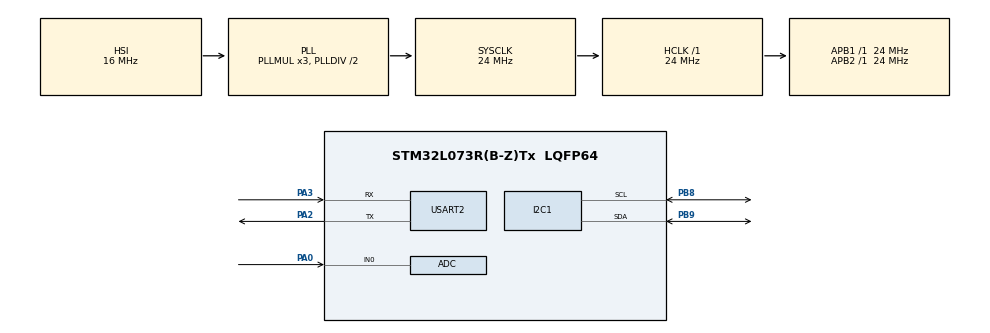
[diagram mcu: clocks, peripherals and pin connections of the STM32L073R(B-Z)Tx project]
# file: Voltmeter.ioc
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ADC.EnableAnalogWatchDog=false
I2C1.Timing=0x00805C87
Mcu.Family=STM32L0
Mcu.Name=STM32L073R(B-Z)Tx
Mcu.Package=LQFP64
PA0.Mode=IN0
PA0.Signal=ADC_IN0
PA2.Mode=Asynchronous
PA2.Signal=USART2_TX
PA3.Mode=Asynchronous
PA3.Signal=USART2_RX
PB8.Mode=I2C
PB8.Signal=I2C1_SCL
PB9.Mode=I2C
PB9.Signal=I2C1_SDA
ProjectManager.HeapSize=0x200
ProjectManager.StackSize=0x400
ProjectManager.TargetToolchain=STM32CubeIDE
RCC.ADCFreq_Value=16000000
RCC.AHBFreq_Value=24000000
RCC.APB1Freq_Value=24000000
RCC.APB1TimFreq_Value=24000000
RCC.APB2Freq_Value=24000000
RCC.APB2TimFreq_Value=24000000
RCC.HCLKFreq_Value=24000000
RCC.HSE_VALUE=8000000
RCC.HSI16_VALUE=16000000
RCC.HSI48_VALUE=48000000
RCC.HSI_VALUE=16000000
RCC.LSE_VALUE=32768
RCC.MSI_VALUE=2097000
RCC.SYSCLKFreq_VALUE=24000000
RCC.SYSCLKSource=RCC_SYSCLKSOURCE_PLLCLK
RCC.VCOOutputFreq_Value=48000000
USART2.VirtualMode-Asynchronous=VM_ASYNC
board=custom

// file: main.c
/* USER CODE BEGIN Header */
/**
  ******************************************************************************
  * @file           : main.c
  * @brief          : Main program body
  ******************************************************************************
  * @attention
  *
  * Copyright (c) 2025 STMicroelectronics.
  * All rights reserved.
  *
  * This software is licensed under terms that can be found in the LICENSE file
  * in the root directory of this software component.
  * If no LICENSE file comes with this software, it is provided AS-IS.
  *
  ******************************************************************************
  */
/* USER CODE END Header */
#include "main.h"

/* USER CODE BEGIN Includes */
#include "i2c_lcd.h"
#include <stdio.h>
#include <string.h>
/* USER CODE END Includes */

ADC_HandleTypeDef hadc;

I2C_HandleTypeDef hi2c1;

UART_HandleTypeDef huart2;

/* USER CODE BEGIN PV */
I2C_LCD_HandleTypeDef lcd1;
#define MAX_SAMPLES 10
uint16_t readValue;
float voltamp;
float ref_voltage_range =3.3;
int ADC_range = 4095;
float real_volt;
volatile float voltageArray[MAX_SAMPLES];
volatile int numSamples = 0;
float voltage;
float voltrms;
char buffer[15];
char buffer2[15];
/* USER CODE END PV */

void SystemClock_Config(void);
static void MX_GPIO_Init(void);
static void MX_ADC_Init(void);
static void MX_I2C1_Init(void);
static void MX_USART2_UART_Init(void);
/* USER CODE BEGIN PFP */
float findMaxVoltage(void)
{
    float maxVoltage = voltageArray[0];
    for (int i = 1; i < numSamples; i++)
    {
        if (voltageArray[i] > maxVoltage)
        {
            maxVoltage = voltageArray[i];
        }
    }
    return maxVoltage;
}
void ValueToTerminal(){
	//naudojant PuTTY jam reikia speed is uart kas yra 115200 ir
	//STM32 porto kas siuo atveju yra port 5
	sprintf(buffer, "Umax= %.2fV \r\n", voltamp);
	HAL_UART_Transmit(&huart2, (uint8_t *)buffer, strlen(buffer), HAL_MAX_DELAY);
	sprintf(buffer2, "Urms= %.2fV \r\n", voltrms);
	HAL_UART_Transmit(&huart2, (uint8_t *)buffer2, strlen(buffer2), HAL_MAX_DELAY);
	HAL_UART_Transmit(&huart2, (uint8_t *)"\r\n", 2, HAL_MAX_DELAY);
}
/* USER CODE END PFP */

int main(void)
{

  /* MCU Configuration--------------------------------------------------------*/

  /* Reset of all peripherals, Initializes the Flash interface and the Systick. */
  HAL_Init();

  /* Configure the system clock */
  SystemClock_Config();

  /* Initialize all configured peripherals */
  MX_GPIO_Init();
  MX_ADC_Init();
  MX_I2C1_Init();
  MX_USART2_UART_Init();
  /* USER CODE BEGIN 2 */
  lcd1.hi2c = &hi2c1;
  lcd1.address = 0x4E;
  lcd_init(&lcd1);
  /* USER CODE END 2 */

  /* Infinite loop */
  /* USER CODE BEGIN WHILE */
  uint32_t lastUartTime = 0;
  uint32_t lastLcdTime = 0;

  while (1)
  {
    HAL_ADC_Start(&hadc);
    if (HAL_ADC_PollForConversion(&hadc, 20) != HAL_OK) {
      Error_Handler();
    }

    readValue = HAL_ADC_GetValue(&hadc);

    //Uzdedamos ribos, kad butu gaunamas sklandus veikimas, nes taip isvengiama triuksmingo input matuojant
    //ir galima matyti triuksmus, kai irenginys atjungtas nuo AC šaltinio
    if (readValue >= 100 || readValue == 0) {
      voltage = (float)((readValue * ref_voltage_range) / ADC_range);
      real_volt = voltage * ((11000.0f + 4700.0f) / 4700.0f);

      if (numSamples < MAX_SAMPLES) {
        voltageArray[numSamples++] = real_volt;
      } else {
        numSamples = 0;
      }

      //amp = amplitude todel ieskoma max verte
      voltamp = findMaxVoltage();
      //rms buvo galima rasti dviems budais:
      //randant tikra rms arba paimant momentini rms apskaiciavus nuo peak
      voltrms = voltamp * 0.707f;
    }

    // i UART sasaja duomenys paduodami kas 200 ms
    if (HAL_GetTick() - lastUartTime >= 200) {
      lastUartTime = HAL_GetTick();
      ValueToTerminal();
    }

    // i LCD ekraniuka duomenys paduodami kas 500 ms
    if (HAL_GetTick() - lastLcdTime >= 500) {
      lastLcdTime = HAL_GetTick();
      // naudojant lcd_gotoxy(0,0) vietoje lcd_clear sutaupo laiko ir isvengiama mirksejimo
      lcd_gotoxy(&lcd1, 0, 0);
      sprintf(buffer, "Umax= %.2f V", voltamp);
      lcd_puts(&lcd1, buffer);

      lcd_gotoxy(&lcd1, 0, 1);
      sprintf(buffer2, "Urms= %.2f V", voltrms);
      lcd_puts(&lcd1, buffer2);
    }
    HAL_Delay(10); // maza pertrauktis siekent isvengti 100% CPU panaudojimo
  }
  /* USER CODE END 3 */
}

void SystemClock_Config(void)
{
  RCC_OscInitTypeDef RCC_OscInitStruct = {0};
  RCC_ClkInitTypeDef RCC_ClkInitStruct = {0};
  RCC_PeriphCLKInitTypeDef PeriphClkInit = {0};

  /** Configure the main internal regulator output voltage
  */
  __HAL_PWR_VOLTAGESCALING_CONFIG(PWR_REGULATOR_VOLTAGE_SCALE1);

  /** Initializes the RCC Oscillators according to the specified parameters
  * in the RCC_OscInitTypeDef structure.
  */
  RCC_OscInitStruct.OscillatorType = RCC_OSCILLATORTYPE_HSI;
  RCC_OscInitStruct.HSIState = RCC_HSI_ON;
  RCC_OscInitStruct.HSICalibrationValue = RCC_HSICALIBRATION_DEFAULT;
  RCC_OscInitStruct.PLL.PLLState = RCC_PLL_ON;
  RCC_OscInitStruct.PLL.PLLSource = RCC_PLLSOURCE_HSI;
  RCC_OscInitStruct.PLL.PLLMUL = RCC_PLLMUL_3;
  RCC_OscInitStruct.PLL.PLLDIV = RCC_PLLDIV_2;
  if (HAL_RCC_OscConfig(&RCC_OscInitStruct) != HAL_OK)
  {
    Error_Handler();
  }

  /** Initializes the CPU, AHB and APB buses clocks
  */
  RCC_ClkInitStruct.ClockType = RCC_CLOCKTYPE_HCLK|RCC_CLOCKTYPE_SYSCLK
                              |RCC_CLOCKTYPE_PCLK1|RCC_CLOCKTYPE_PCLK2;
  RCC_ClkInitStruct.SYSCLKSource = RCC_SYSCLKSOURCE_PLLCLK;
  RCC_ClkInitStruct.AHBCLKDivider = RCC_SYSCLK_DIV1;
  RCC_ClkInitStruct.APB1CLKDivider = RCC_HCLK_DIV1;
  RCC_ClkInitStruct.APB2CLKDivider = RCC_HCLK_DIV1;

  if (HAL_RCC_ClockConfig(&RCC_ClkInitStruct, FLASH_LATENCY_1) != HAL_OK)
  {
    Error_Handler();
  }
  PeriphClkInit.PeriphClockSelection = RCC_PERIPHCLK_USART2|RCC_PERIPHCLK_I2C1;
  PeriphClkInit.Usart2ClockSelection = RCC_USART2CLKSOURCE_PCLK1;
  PeriphClkInit.I2c1ClockSelection = RCC_I2C1CLKSOURCE_PCLK1;
  if (HAL_RCCEx_PeriphCLKConfig(&PeriphClkInit) != HAL_OK)
  {
    Error_Handler();
  }
}

static void MX_ADC_Init(void)
{

  ADC_ChannelConfTypeDef sConfig = {0};

  /** Configure the global features of the ADC (Clock, Resolution, Data Alignment and number of conversion)
  */
  hadc.Instance = ADC1;
  hadc.Init.OversamplingMode = DISABLE;
  hadc.Init.ClockPrescaler = ADC_CLOCK_SYNC_PCLK_DIV2;
  hadc.Init.Resolution = ADC_RESOLUTION_12B;
  hadc.Init.SamplingTime = ADC_SAMPLETIME_1CYCLE_5;
  hadc.Init.ScanConvMode = ADC_SCAN_DIRECTION_FORWARD;
  hadc.Init.DataAlign = ADC_DATAALIGN_RIGHT;
  hadc.Init.ContinuousConvMode = DISABLE;
  hadc.Init.DiscontinuousConvMode = DISABLE;
  hadc.Init.ExternalTrigConvEdge = ADC_EXTERNALTRIGCONVEDGE_NONE;
  hadc.Init.ExternalTrigConv = ADC_SOFTWARE_START;
  hadc.Init.DMAContinuousRequests = DISABLE;
  hadc.Init.EOCSelection = ADC_EOC_SINGLE_CONV;
  hadc.Init.Overrun = ADC_OVR_DATA_PRESERVED;
  hadc.Init.LowPowerAutoWait = DISABLE;
  hadc.Init.LowPowerFrequencyMode = DISABLE;
  hadc.Init.LowPowerAutoPowerOff = DISABLE;
  if (HAL_ADC_Init(&hadc) != HAL_OK)
  {
    Error_Handler();
  }

  /** Configure for the selected ADC regular channel to be converted.
  */
  sConfig.Channel = ADC_CHANNEL_0;
  sConfig.Rank = ADC_RANK_CHANNEL_NUMBER;
  if (HAL_ADC_ConfigChannel(&hadc, &sConfig) != HAL_OK)
  {
    Error_Handler();
  }

}

static void MX_I2C1_Init(void)
{

  hi2c1.Instance = I2C1;
  hi2c1.Init.Timing = 0x00805C87;
  hi2c1.Init.OwnAddress1 = 0;
  hi2c1.Init.AddressingMode = I2C_ADDRESSINGMODE_7BIT;
  hi2c1.Init.DualAddressMode = I2C_DUALADDRESS_DISABLE;
  hi2c1.Init.OwnAddress2 = 0;
  hi2c1.Init.OwnAddress2Masks = I2C_OA2_NOMASK;
  hi2c1.Init.GeneralCallMode = I2C_GENERALCALL_DISABLE;
  hi2c1.Init.NoStretchMode = I2C_NOSTRETCH_DISABLE;
  if (HAL_I2C_Init(&hi2c1) != HAL_OK)
  {
    Error_Handler();
  }

  /** Configure Analogue filter
  */
  if (HAL_I2CEx_ConfigAnalogFilter(&hi2c1, I2C_ANALOGFILTER_ENABLE) != HAL_OK)
  {
    Error_Handler();
  }

  /** Configure Digital filter
  */
  if (HAL_I2CEx_ConfigDigitalFilter(&hi2c1, 0) != HAL_OK)
  {
    Error_Handler();
  }

}

static void MX_USART2_UART_Init(void)
{

  huart2.Instance = USART2;
  huart2.Init.BaudRate = 115200;
  huart2.Init.WordLength = UART_WORDLENGTH_8B;
  huart2.Init.StopBits = UART_STOPBITS_1;
  huart2.Init.Parity = UART_PARITY_NONE;
  huart2.Init.Mode = UART_MODE_TX_RX;
  huart2.Init.HwFlowCtl = UART_HWCONTROL_NONE;
  huart2.Init.OverSampling = UART_OVERSAMPLING_16;
  huart2.Init.OneBitSampling = UART_ONE_BIT_SAMPLE_DISABLE;
  huart2.AdvancedInit.AdvFeatureInit = UART_ADVFEATURE_NO_INIT;
  if (HAL_UART_Init(&huart2) != HAL_OK)
  {
    Error_Handler();
  }

}

static void MX_GPIO_Init(void)
{

  /* GPIO Ports Clock Enable */
  __HAL_RCC_GPIOA_CLK_ENABLE();
  __HAL_RCC_GPIOB_CLK_ENABLE();

}

void Error_Handler(void)
{
  __disable_irq();
  while (1)
  {
  }
}
